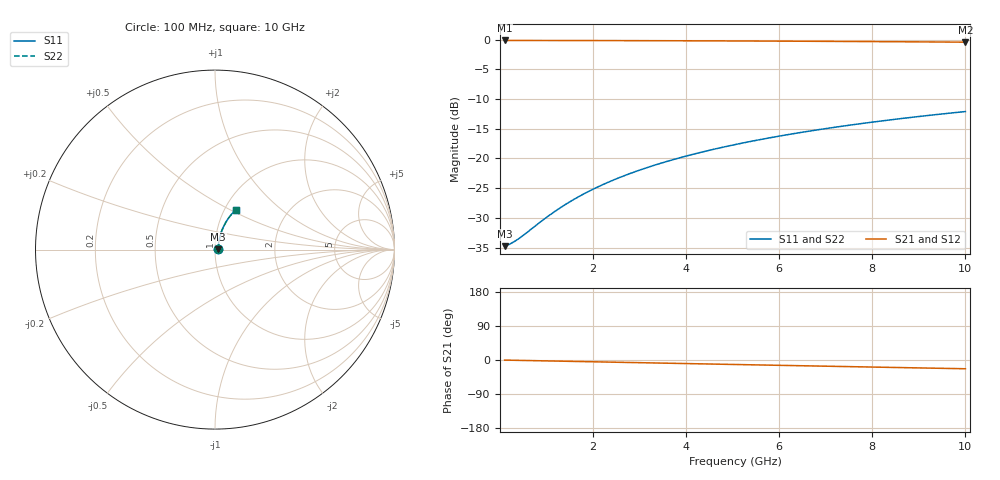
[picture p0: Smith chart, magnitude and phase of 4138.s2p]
# Hz S RI R 50.00
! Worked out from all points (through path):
!   100 points, 100 MHz to 10 GHz, reference 50 ohm
!   highest |S21| = -0.16 dB at 100 MHz (marker M1); lowest = -0.4 dB at 10 GHz (marker M2)
!   group delay of S21, straight-line fit = 6.43 ps
!   lowest |S11| = -34.8 dB at 100 MHz (marker M3), VSWR 1.04, Z = 51.8 + j0.262 ohm
!   |S11| at or under -10 dB: start of sweep to end of sweep
!   |S22| runs from -34.8 to -12.1 dB; largest |S21 - S12| = 0
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1e8  0.0181 0.00252  0.9819 -0.00404  0.9819 -0.00404  0.0181 0.00252
2e8  0.0183 0.00504  0.9817 -0.00808  0.9817 -0.00808  0.0183 0.00504
3e8  0.0184 0.00756  0.9816 -0.0121  0.9816 -0.0121  0.0184 0.00756
4e8  0.0186 0.0101  0.9814 -0.0162  0.9814 -0.0162  0.0186 0.0101
9e8  0.0195 0.0226  0.9804 -0.0363  0.9804 -0.0363  0.0195 0.0226
1.2e9  0.0202 0.0302  0.9796 -0.0484  0.9796 -0.0484  0.0202 0.0302
1.5e9  0.0212 0.0376  0.9786 -0.0605  0.9786 -0.0605  0.0212 0.0376
1.8e9  0.0222 0.0451  0.9773 -0.0725  0.9773 -0.0725  0.0222 0.0451
2.1e9  0.0235 0.0525  0.9759 -0.0845  0.9759 -0.0845  0.0235 0.0525
2.5e9  0.0255 0.0624  0.9737 -0.1004  0.9737 -0.1004  0.0255 0.0624
2.9e9  0.0278 0.0721  0.9712 -0.1162  0.9712 -0.1162  0.0278 0.0721
3.4e9  0.0311 0.0842  0.9675 -0.1359  0.9675 -0.1359  0.0311 0.0842
3.8e9  0.0341 0.0937  0.9642 -0.1515  0.9642 -0.1515  0.0341 0.0937
4.2e9  0.0373 0.1031  0.9605 -0.1671  0.9605 -0.1671  0.0373 0.1031
4.6e9  0.0409 0.1124  0.9566 -0.1824  0.9566 -0.1824  0.0409 0.1124
5.1e9  0.0458 0.1238  0.9511 -0.2015  0.9511 -0.2015  0.0458 0.1238
5.9e9  0.0545 0.1415  0.9414 -0.2314  0.9414 -0.2314  0.0545 0.1415
6.7e9  0.0643 0.1585  0.9304 -0.2607  0.9304 -0.2607  0.0643 0.1585
7.5e9  0.075 0.1747  0.9182 -0.2892  0.9182 -0.2892  0.075 0.1747
8.4e9  0.0883 0.192  0.9033 -0.3203  0.9033 -0.3203  0.0883 0.192
9.2e9  0.1009 0.2065  0.8889 -0.347  0.8889 -0.347  0.1009 0.2065
1e10  0.1144 0.2199  0.8736 -0.3728  0.8736 -0.3728  0.1144 0.2199
